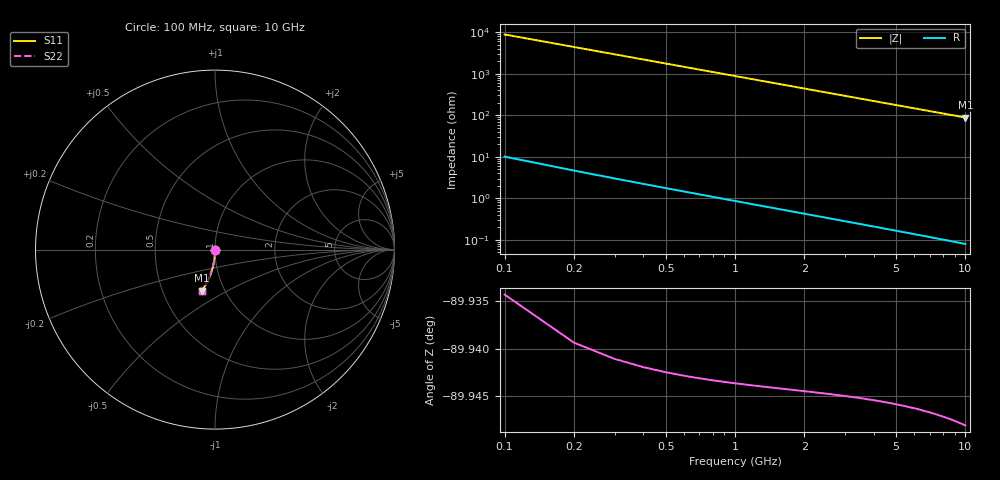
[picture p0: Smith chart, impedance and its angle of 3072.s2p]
# Hz S RI R 50.00
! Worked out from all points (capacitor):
!   100 points, 100 MHz to 10 GHz, reference 50 ohm
!   read as one part in shunt: C = 180 fF near 100 MHz
!   lowest |Z| = 88.5 ohm at 10 GHz (marker M1)
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1e8  0.000265 -0.00249  0.9997 -0.00318  0.9997 -0.00318  0.000265 -0.00249
2e8  0.000241 -0.00498  0.9997 -0.00636  0.9997 -0.00636  0.000241 -0.00498
3e8  0.0002 -0.00746  0.9996 -0.00953  0.9996 -0.00953  0.0002 -0.00746
4e8  0.000143 -0.00995  0.9996 -0.0127  0.9996 -0.0127  0.000143 -0.00995
5e8  7e-05 -0.0124  0.9995 -0.0159  0.9995 -0.0159  7e-05 -0.0124
6e8  -1.88e-05 -0.0149  0.9994 -0.0191  0.9994 -0.0191  -1.88e-05 -0.0149
7e8  -0.000123 -0.0174  0.9993 -0.0222  0.9993 -0.0222  -0.000123 -0.0174
8e8  -0.000244 -0.0199  0.9992 -0.0254  0.9992 -0.0254  -0.000244 -0.0199
9e8  -0.00038 -0.0224  0.999 -0.0286  0.999 -0.0286  -0.00038 -0.0224
1.1e9  -0.0007 -0.0273  0.9987 -0.0349  0.9987 -0.0349  -0.0007 -0.0273
1.4e9  -0.0013 -0.0348  0.9981 -0.0444  0.9981 -0.0444  -0.0013 -0.0348
1.8e9  -0.00232 -0.0447  0.997 -0.0571  0.997 -0.0571  -0.00232 -0.0447
2.1e9  -0.00324 -0.0521  0.9961 -0.0666  0.9961 -0.0666  -0.00324 -0.0521
2.5e9  -0.0047 -0.0619  0.9946 -0.0791  0.9946 -0.0791  -0.0047 -0.0619
2.9e9  -0.0064 -0.0716  0.9928 -0.0917  0.9928 -0.0917  -0.0064 -0.0716
3.4e9  -0.00887 -0.0838  0.9903 -0.1073  0.9903 -0.1073  -0.00887 -0.0838
4.2e9  -0.0136 -0.103  0.9854 -0.132  0.9854 -0.132  -0.0136 -0.103
5.1e9  -0.0201 -0.1242  0.9787 -0.1594  0.9787 -0.1594  -0.0201 -0.1242
5.9e9  -0.0268 -0.1426  0.9718 -0.1834  0.9718 -0.1834  -0.0268 -0.1426
6.7e9  -0.0343 -0.1606  0.964 -0.2069  0.964 -0.2069  -0.0343 -0.1606
8.4e9  -0.0532 -0.1971  0.9445 -0.2553  0.9445 -0.2553  -0.0532 -0.1971
1e10  -0.074 -0.229  0.923 -0.2984  0.923 -0.2984  -0.074 -0.229
